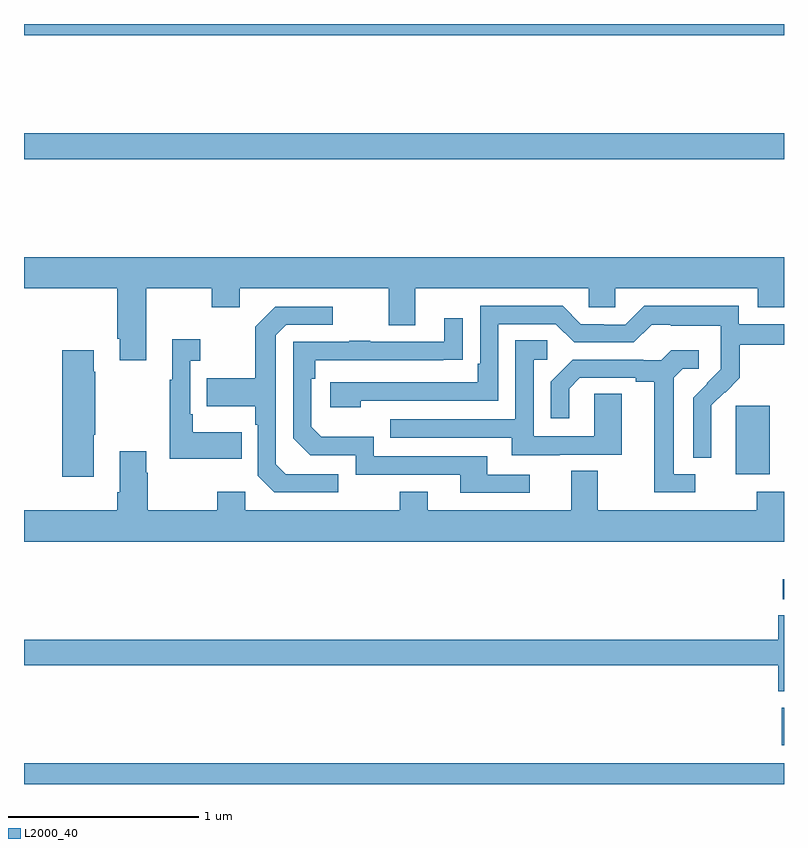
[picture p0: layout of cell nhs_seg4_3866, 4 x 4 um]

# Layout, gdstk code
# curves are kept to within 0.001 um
import gdstk
lib = gdstk.Library(unit=1e-6, precision=1e-09)
def R(c, l, rs):  # rectangles x0, y0, x1, y1
    for r in rs: c.add(gdstk.rectangle(r[:2], r[2:], *l))
def P(c, l, *ps):  # polygons
    for p in ps: c.add(gdstk.Polygon(p, *l))
L2000_40 = (2000, 40)

nhs_seg4_3866 = lib.new_cell('nhs_seg4_3866')
R(nhs_seg4_3866, L2000_40, [(315,772.9,319,773.008), (318.989,773.103,319,773.302), (318.993,773.873,319,773.977), (318.746,774.53,318.925,774.891), (315,776.188,319,776.324), (315,776.84,319,776.9)])
P(nhs_seg4_3866, L2000_40, [(315.643,775.508),(315.988,775.508),(315.988,775.409),(316.135,775.409),(316.135,775.508),(316.919,775.508),(316.919,775.314),(317.059,775.314),(317.059,775.508),(317.973,775.508),(317.973,775.41),(318.111,775.41),(318.111,775.508),(318.863,775.508),(318.863,775.409),(319,775.409),(319,775.672),(315,775.672),(315,775.508),(315.491,775.508),(315.491,775.243),(315.503,775.243),(315.503,775.131),(315.643,775.131)],
  [(318.618,774.77),(318.617,774.893),(318.687,774.963),(318.69,774.96),(318.767,775.037),(318.767,775.212),(319,775.212),(319,775.32),(318.762,775.32),(318.762,775.417),(318.265,775.417),(318.165,775.317),(318.05,775.317),(318.05,775.32),(317.931,775.32),(317.835,775.416),(317.4,775.416),(317.4,775.111),(317.387,775.111),(317.387,775.014),(316.611,775.014),(316.611,774.884),(316.772,774.884),(316.772,774.918),(317.496,774.918),(317.496,775.32),(317.799,775.32),(317.895,775.224),(318.21,775.224),(318.303,775.317),(318.403,775.317),(318.403,775.313),(318.666,775.313),(318.666,775.179),(318.668,775.179),(318.668,775.082),(318.522,774.934),(318.522,774.616),(318.618,774.616)],
  [(316.654,774.531),(316.377,774.531),(316.326,774.582),(316.326,775.263),(316.38,775.317),(316.624,775.317),(316.624,775.413),(316.323,775.413),(316.218,775.307),(316.218,775.035),(315.961,775.035),(315.961,774.887),(316.218,774.887),(316.218,774.791),(316.23,774.791),(316.23,774.522),(316.317,774.435),(316.654,774.435)],
  [(317.662,774.528),(317.437,774.528),(317.437,774.624),(316.842,774.624),(316.842,774.727),(316.565,774.727),(316.512,774.78),(316.512,775.034),(316.532,775.034),(316.532,775.131),(317.309,775.132),(317.309,775.351),(317.213,775.351),(317.213,775.227),(316.823,775.227),(316.823,775.232),(316.711,775.232),(316.711,775.227),(316.416,775.227),(316.416,774.72),(316.506,774.63),(316.746,774.63),(316.746,774.528),(317.297,774.528),(317.297,774.432),(317.662,774.432)],
  [(316.145,774.751),(315.889,774.751),(315.889,774.847),(315.876,774.847),(315.876,775.127),(315.928,775.127),(315.928,775.24),(315.779,775.24),(315.779,775.027),(315.768,775.027),(315.768,774.611),(316.145,774.611)],
  [(317.821,774.633),(318.145,774.633),(318.145,774.953),(318,774.953),(318,774.729),(317.682,774.729),(317.682,775.134),(317.755,775.134),(317.755,775.235),(317.586,775.235),(317.586,774.819),(316.927,774.819),(316.927,774.723),(317.567,774.723),(317.567,774.629),(317.821,774.629)],
  [(315.367,774.739),(315.375,774.739),(315.375,775.07),(315.367,775.07),(315.367,775.183),(315.2,775.183),(315.2,774.516),(315.367,774.516)],
  [(318.532,774.531),(318.421,774.531),(318.421,775.039),(318.468,775.086),(318.55,775.086),(318.55,775.183),(318.406,775.183),(318.354,775.131),(318.26,775.131),(318.26,775.134),(317.888,775.134),(317.772,775.018),(317.772,774.825),(317.869,774.825),(317.869,774.981),(317.926,775.038),(318.221,775.038),(318.221,775.016),(318.317,775.016),(318.317,774.435),(318.532,774.435)],
  [(319,774.439),(318.856,774.439),(318.856,774.34),(318.019,774.34),(318.019,774.548),(317.879,774.548),(317.879,774.34),(317.125,774.34),(317.125,774.439),(316.978,774.439),(316.978,774.34),(316.164,774.34),(316.164,774.439),(316.018,774.439),(316.018,774.34),(315.651,774.34),(315.651,774.539),(315.643,774.539),(315.643,774.652),(315.503,774.652),(315.503,774.436),(315.491,774.436),(315.491,774.34),(315,774.34),(315,774.176),(319,774.176)],
  [(319,773.788),(318.971,773.788),(318.971,773.66),(315,773.66),(315,773.524),(318.971,773.524),(318.971,773.387),(319,773.387)])

lib.write_gds('nhs_seg4_3866.gds')
